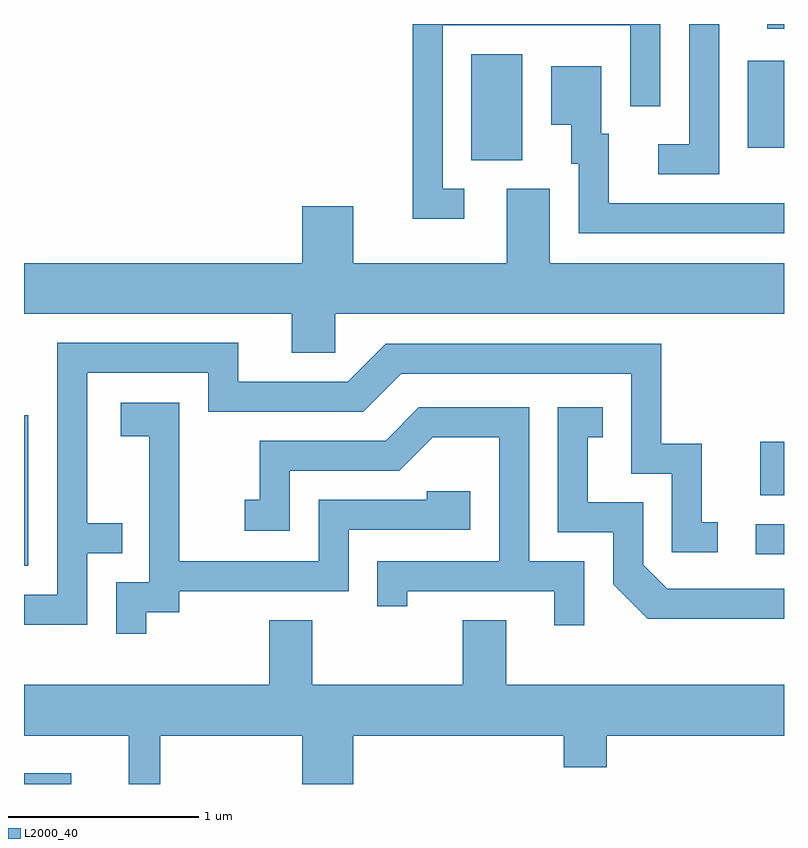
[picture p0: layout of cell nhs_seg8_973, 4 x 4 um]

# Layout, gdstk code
import gdstk
lib = gdstk.Library(unit=1e-6, precision=1e-09)
def R(c, l, rs):  # rectangles x0, y0, x1, y1
    for r in rs: c.add(gdstk.rectangle(r[:2], r[2:], *l))
def P(c, l, *ps):  # polygons
    for p in ps: c.add(gdstk.Polygon(p, *l))
L2000_40 = (2000, 40)

nhs_seg8_973 = lib.new_cell('nhs_seg8_973')
R(nhs_seg8_973, L2000_40, [(213.611,1878.342,213.859,1878.399), (213.611,1879.491,213.634,1880.284), (217.463,1879.551,217.611,1879.709), (217.486,1879.861,217.611,1880.144), (215.966,1881.626,216.234,1882.184), (217.421,1881.691,217.611,1882.149), (217.523,1882.316,217.611,1882.342)])
P(nhs_seg8_973, L2000_40, [(215.928,1881.474),(215.814,1881.474),(215.814,1882.336),(216.801,1882.336),(216.801,1881.908),(216.959,1881.908),(216.959,1882.342),(215.656,1882.342),(215.656,1881.316),(215.928,1881.316)],
  [(217.269,1882.342),(217.111,1882.342),(217.111,1881.709),(216.948,1881.709),(216.948,1881.551),(217.269,1881.551)],
  [(217.611,1881.399),(216.689,1881.399),(216.689,1881.764),(216.649,1881.764),(216.649,1882.119),(216.386,1882.119),(216.386,1881.811),(216.491,1881.811),(216.491,1881.606),(216.531,1881.606),(216.531,1881.241),(217.611,1881.241)],
  [(215.249,1880.816),(217.611,1880.816),(217.611,1881.084),(216.379,1881.084),(216.379,1881.474),(216.151,1881.474),(216.151,1881.084),(215.344,1881.084),(215.344,1881.384),(215.076,1881.384),(215.076,1881.084),(213.611,1881.084),(213.611,1880.816),(215.021,1880.816),(215.021,1880.611),(215.249,1880.611)],
  [(213.944,1879.556),(214.128,1879.556),(214.128,1879.714),(213.944,1879.714),(213.944,1880.506),(214.581,1880.506),(214.581,1880.301),(215.397,1880.301),(215.597,1880.501),(216.806,1880.501),(216.806,1879.976),(217.021,1879.976),(217.021,1879.561),(217.263,1879.561),(217.263,1879.719),(217.179,1879.719),(217.179,1880.134),(216.964,1880.134),(216.964,1880.659),(215.514,1880.659),(215.314,1880.459),(214.739,1880.459),(214.739,1880.664),(213.786,1880.664),(213.786,1879.339),(213.611,1879.339),(213.611,1879.181),(213.944,1879.181)],
  [(214.254,1879.246),(214.429,1879.246),(214.429,1879.356),(215.319,1879.356),(215.319,1879.681),(215.959,1879.681),(215.959,1879.884),(215.731,1879.884),(215.731,1879.839),(215.161,1879.839),(215.161,1879.514),(214.429,1879.514),(214.429,1880.349),(214.121,1880.349),(214.121,1880.171),(214.271,1880.171),(214.271,1879.404),(214.096,1879.404),(214.096,1879.133),(214.254,1879.133)],
  [(216.559,1879.514),(216.269,1879.514),(216.269,1880.324),(215.689,1880.324),(215.514,1880.149),(214.851,1880.149),(214.851,1879.839),(214.773,1879.839),(214.773,1879.676),(215.009,1879.676),(215.009,1879.991),(215.587,1879.991),(215.762,1880.166),(216.111,1880.166),(216.111,1879.514),(215.471,1879.514),(215.471,1879.278),(215.629,1879.278),(215.629,1879.356),(216.401,1879.356),(216.401,1879.178),(216.559,1879.178)],
  [(217.611,1879.369),(216.997,1879.369),(216.869,1879.497),(216.869,1879.824),(216.579,1879.824),(216.579,1880.166),(216.658,1880.166),(216.658,1880.324),(216.421,1880.324),(216.421,1879.666),(216.711,1879.666),(216.711,1879.394),(216.894,1879.211),(217.611,1879.211)],
  [(214.329,1878.596),(215.076,1878.596),(215.076,1878.342),(215.344,1878.342),(215.344,1878.596),(216.451,1878.596),(216.451,1878.431),(216.679,1878.431),(216.679,1878.596),(217.611,1878.596),(217.611,1878.864),(216.149,1878.864),(216.149,1879.204),(215.921,1879.204),(215.921,1878.864),(215.129,1878.864),(215.129,1879.204),(214.901,1879.204),(214.901,1878.864),(213.611,1878.864),(213.611,1878.596),(214.161,1878.596),(214.161,1878.342),(214.329,1878.342)])

lib.write_gds('nhs_seg8_973.gds')
